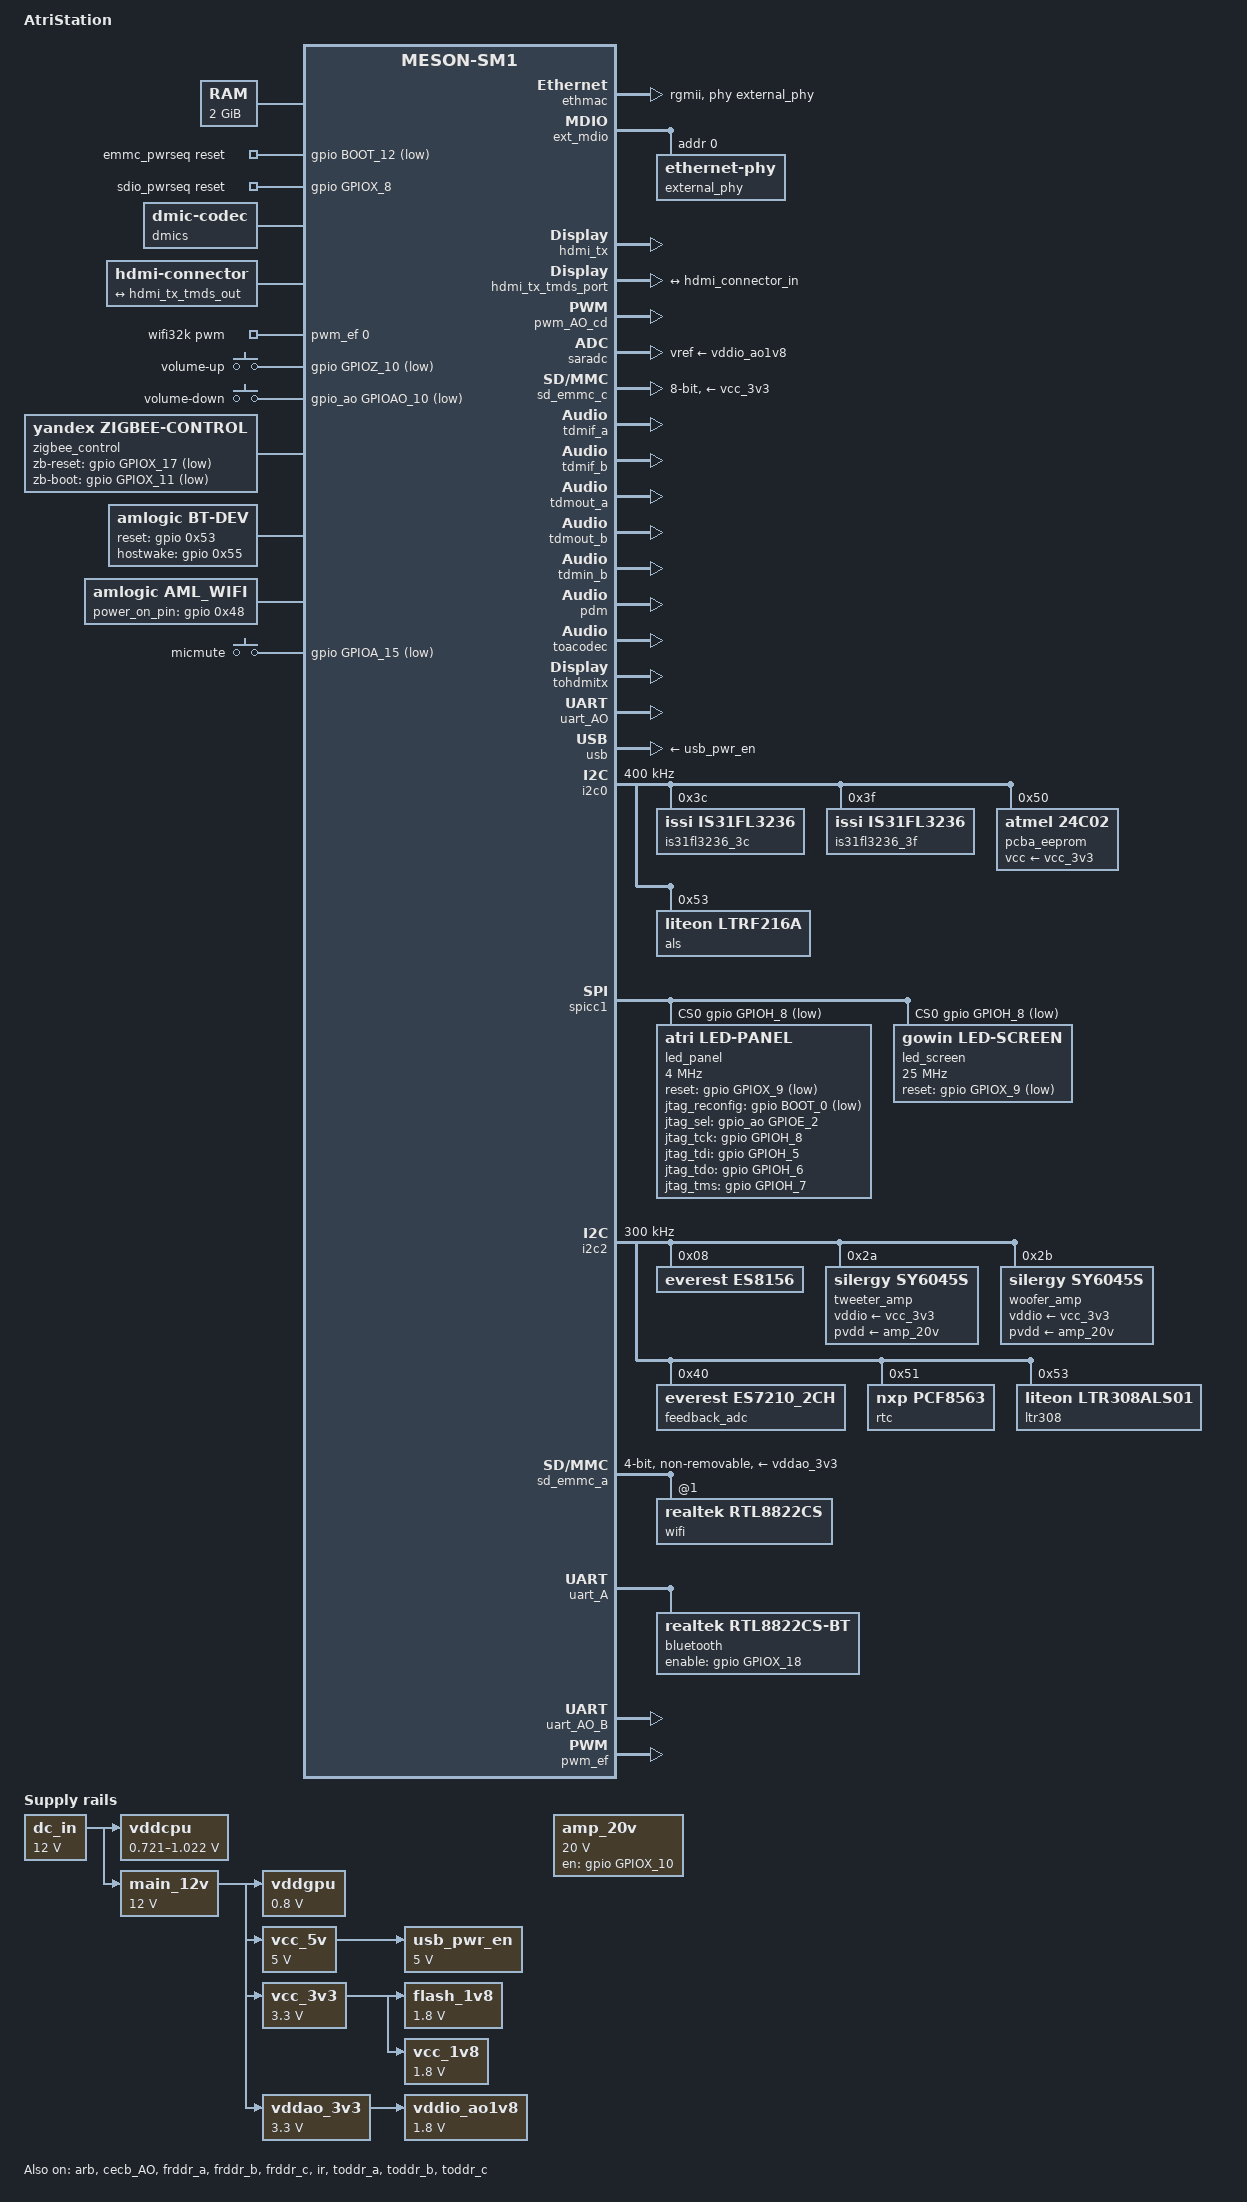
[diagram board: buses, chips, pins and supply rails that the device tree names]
// SPDX-License-Identifier: (GPL-2.0+ OR MIT)
/*
 * Copyright (c) 2024 AtriMods
 * Author: Lefty <leftymods@gmail.com>
 *
 * AtriStation - Amlogic S905X3-based smart display board
 * Features: HDMI, LED ring, microphone array, speakers, WiFi/BT
 */

/dts-v1/;

#include "meson-sm1.dtsi"
#include <dt-bindings/gpio/meson-g12a-gpio.h>
#include <dt-bindings/input/linux-event-codes.h>
#include <dt-bindings/leds/common.h>
#include <dt-bindings/clock/axg-audio-clkc.h>
#include <dt-bindings/sound/meson-g12a-toacodec.h>
#include <dt-bindings/sound/meson-g12a-tohdmitx.h>

/ {
	compatible = "atristation,atristation", "amlogic,sm1";
	model = "AtriStation";

	aliases {
		serial0 = &uart_AO;
		serial1 = &uart_A;	/* Bluetooth -> ttyAML1 */
		serial2 = &uart_AO_B;	/* Zigbee    -> ttyAML2 */
		ethernet0 = &ethmac;
		led-controller0 = &is31fl3236_3c;
		led-controller1 = &is31fl3236_3f;
	};

	chosen {
		stdout-path = "serial0:115200n8";
	};

	memory@0 {
		device_type = "memory";
		reg = <0x0 0x0 0x0 0x80000000>;
	};

	vrtc_alarm: rtc {
		compatible = "amlogic,aml_vrtc";
		alarm_reg_addr = <0xff8000a8>;
		timer_e_addr = <0xffd0f188>;
		init_date = "2015/01/01";
		status = "okay";
	};

	pcba_ids: pcba-ids {
		compatible = "atri,pcba-ids";
		eeproms = <&pcba_eeprom>;
		eeprom-names = "mainboard";
		status = "okay";
	};

	emmc_pwrseq: emmc-pwrseq {
		compatible = "mmc-pwrseq-emmc";
		reset-gpios = <&gpio BOOT_12 GPIO_ACTIVE_LOW>;
	};

	sdio_pwrseq: sdio-pwrseq {
		compatible = "mmc-pwrseq-simple";
		/* Android DTB: wifi.power_on_pin = GPIOX_8 (0x48), asserted high */
		reset-gpios = <&gpio GPIOX_8 GPIO_ACTIVE_HIGH>;
		clocks = <&wifi32k>;
		clock-names = "ext_clock";
		post-power-on-delay-ms = <200>;
	};

	vddcpu: regulator-vddcpu {
		compatible = "pwm-regulator";
		pwms = <&pwm_AO_cd 1 1500 0>;
		pwm-dutycycle-range = <100 0>;
		regulator-name = "VDDCPU";
		regulator-min-microvolt = <721000>;
		regulator-max-microvolt = <1022000>;
		regulator-boot-on;
		regulator-always-on;
		vin-supply = <&dc_in>;
	};

	/* GPU rail: all SM1 GPU OPPs run at 0.8V; board feeds MALI from an
	 * always-on buck, so declare a fixed 0.8V supply for panfrost devfreq */
	vddgpu: regulator-vddgpu {
		compatible = "regulator-fixed";
		regulator-name = "VDDGPU";
		regulator-min-microvolt = <800000>;
		regulator-max-microvolt = <800000>;
		vin-supply = <&main_12v>;
		regulator-always-on;
	};

	/* Station 2 has no microSD slot; GPIOAO_3 is the Zigbee UART RX
	 * (stock DTB: uart_ao_b rx_b_3). Node kept disabled for reference. */
	tflash_vdd: regulator-tflash_vdd {
		compatible = "regulator-fixed";
		regulator-name = "TFLASH_VDD";
		regulator-min-microvolt = <3300000>;
		regulator-max-microvolt = <3300000>;
		vin-supply = <&vcc_5v>;
		gpio = <&gpio_ao GPIOAO_3 GPIO_ACTIVE_HIGH>;
		enable-active-high;
		regulator-boot-on;
		status = "disabled";	};

	flash_1v8: regulator-flash_1v8 {
		compatible = "regulator-fixed";
		regulator-name = "FLASH_1V8";
		regulator-min-microvolt = <1800000>;
		regulator-max-microvolt = <1800000>;
		vin-supply = <&vcc_3v3>;
		regulator-boot-on;
	};

	main_12v: regulator-main_12v {
		compatible = "regulator-fixed";
		regulator-name = "MAIN_12V";
		regulator-min-microvolt = <12000000>;
		regulator-max-microvolt = <12000000>;
		vin-supply = <&dc_in>;
		regulator-boot-on;
	};

	vcc_5v: regulator-vcc_5v {
		compatible = "regulator-fixed";
		regulator-name = "VCC_5V";
		regulator-min-microvolt = <5000000>;
		regulator-max-microvolt = <5000000>;
		vin-supply = <&main_12v>;
		regulator-boot-on;
	};

	vcc_1v8: regulator-vcc_1v8 {
		compatible = "regulator-fixed";
		regulator-name = "VCC_1V8";
		regulator-min-microvolt = <1800000>;
		regulator-max-microvolt = <1800000>;
		vin-supply = <&vcc_3v3>;
		regulator-always-on;
	};

	vcc_3v3: regulator-vcc_3v3 {
		compatible = "regulator-fixed";
		regulator-name = "VCC_3V3";
		regulator-min-microvolt = <3300000>;
		regulator-max-microvolt = <3300000>;
		vin-supply = <&main_12v>;
		regulator-boot-on;
	};

	vddao_3v3: regulator-vddao_3v3 {
		compatible = "regulator-fixed";
		regulator-name = "VDDAO_3V3";
		regulator-min-microvolt = <3300000>;
		regulator-max-microvolt = <3300000>;
		vin-supply = <&main_12v>;
		regulator-boot-on;
	};

	dc_in: regulator-dc_in {
		compatible = "regulator-fixed";
		regulator-name = "DC_IN";
		regulator-min-microvolt = <12000000>;
		regulator-max-microvolt = <12000000>;
		regulator-boot-on;
	};

	sound {
		compatible = "amlogic,axg-sound-card";
		model = "ATRISTATION";
		audio-aux-devs = <&tdmout_b>;
		audio-widgets = "Headphone", "Headphones";
		audio-routing =
			"Headphones", "LOUT",
			"Headphones", "ROUT",
			"TDMOUT_B IN 0", "FRDDR_A OUT 0";

		clocks = <&clkc CLKID_MPLL2>,
			 <&clkc CLKID_MPLL0>;
		assigned-clocks = <&clkc CLKID_MPLL2>,
				  <&clkc CLKID_MPLL0>;
		assigned-clock-rates = <294912000>,
				       <270950400>;

		dai-link-0 {
			sound-dai = <&frddr_a>;
		};

		dai-link-3 {
			sound-dai = <&tdmif_b>;
			dai-format = "i2s";
			bitclock-master = <&tdmif_b>;
			frame-master = <&tdmif_b>;
			dai-tdm-slot-tx-mask-0 = <1 1>;
			mclk-fs = <256>;

			codec-0 { sound-dai = <&tweeter_amp>; };
			codec-1 { sound-dai = <&woofer_amp>; };
			codec-2 { sound-dai = <&es8156>; };
		};
	};

	/* PDM microphone array (4 channels) */
	dmics: dmics {
		compatible = "dmic-codec";
		#sound-dai-cells = <0>;
		num-channels = <4>;
		wakeup-delay-ms = <50>;
		sound-name-prefix = "DMIC";
	};

	/* HDMI connector */
	hdmi-connector {
		compatible = "hdmi-connector";
		type = "a";

		port {
			hdmi_connector_in: endpoint {
				remote-endpoint = <&hdmi_tx_tmds_out>;
			};
		};
	};

	/* USB power enable
	 * No VBUS GPIO on this board (stock Yandex DTB wires none);
	 * GPIOH_6 is the FPGA JTAG TDO line, do not claim it here. */
	usb_pwr_en: regulator-usb-pwr-en {
		compatible = "regulator-fixed";
		regulator-name = "USB_PWR_EN";
		regulator-min-microvolt = <5000000>;
		regulator-max-microvolt = <5000000>;
		vin-supply = <&vcc_5v>;
		regulator-boot-on;
		regulator-always-on;
	};

	/* 32.768kHz clock for WiFi */
	wifi32k: wifi32k {
		compatible = "pwm-clock";
		#clock-cells = <0>;
		clock-frequency = <32768>;
		/* Android DTB: pwm@19000 ch0, period 30541 (~32.756 kHz), duty ~48% */
		pwms = <&pwm_ef 0 30541 0>;
	};

	/* VDDAO 1.8V for SDIO/BT I/O */
	vddio_ao1v8: regulator-vddio-ao1v8 {
		compatible = "regulator-fixed";
		regulator-name = "VDDIO_AO1V8";
		regulator-min-microvolt = <1800000>;
		regulator-max-microvolt = <1800000>;
		vin-supply = <&vddao_3v3>;
		regulator-always-on;
	};

	/* SY6045S amplifier 20V supply enable.
	 * Board owner confirmed: ampl_pwr = GPIOX_10 (the old AO_10 was
	 * a misparse of the vendor dump). This frees GPIOAO_10 for the
	 * volume knob phase B. sy6045s driver sequences it at step 4. */
	amp_20v: regulator-20v-amp {
		compatible = "regulator-fixed";
		regulator-name = "20V_AMPL";
		regulator-min-microvolt = <20000000>;
		regulator-max-microvolt = <20000000>;
		gpio = <&gpio GPIOX_10 GPIO_ACTIVE_HIGH>;
		enable-active-high;
	};

	/* Volume knob per vendor: push A/B emitting KEY_VOLUMEUP/DOWN */
	rotary-volume {
		compatible = "gpio-keys-polled";
		poll-interval = <20>;

		vol-up {
			label = "volume-up";
			linux,code = <KEY_VOLUMEUP>;
			gpios = <&gpio GPIOZ_10 GPIO_ACTIVE_LOW>;
		};

		vol-down {
			label = "volume-down";
			linux,code = <KEY_VOLUMEDOWN>;
			gpios = <&gpio_ao GPIOAO_10 GPIO_ACTIVE_LOW>;
		};
	};

	zigbee_control: zigbee-control {
		compatible = "yandex,zigbee-control";
		zb-reset-gpios = <&gpio GPIOX_17 GPIO_ACTIVE_LOW>;
		zb-boot-gpios = <&gpio GPIOX_11 GPIO_ACTIVE_LOW>;
		status = "okay";
	};

	/* Bluetooth: matches vendor DTB gpio_reset=0x16 0x53,
	 * gpio_hostwake=0x16 0x55 */
	bt-dev {
		compatible = "amlogic,bt-dev";
		dev_name = "bt-dev";
		status = "okay";
		gpio_reset = <&gpio 0x53 GPIO_ACTIVE_HIGH>;
		gpio_hostwake = <&gpio 0x55 GPIO_ACTIVE_HIGH>;
	};

	/* WiFi: matches vendor DTB aml_wifi:
	 * interrupt_pin=0x16 0x49, power_on_pin=0x16 0x48 */
	wifi {
		compatible = "amlogic,aml_wifi";
		dev_name = "aml_wifi";
		status = "okay";
		interrupt_pin = <&gpio 0x49 GPIO_ACTIVE_LOW>;
		irq_trigger_type = "GPIO_IRQ_LOW";
		power_on_pin = <&gpio 0x48 GPIO_ACTIVE_HIGH>;
		pwm_config = <&wifi_pwm_conf>;
	};

	/* WiFi/BT 32.768kHz PWM config as in vendor DTB */
	wifi_pwm_conf: wifi-pwm-conf {
		pwm_channel1_conf {
			pwms = <&pwm_ef 0 0x774d 0x00>;
			duty-cycle = <0x3ba6>;
			times = <0x0a>;
		};
		pwm_channel2_conf {
			pwms = <&pwm_ef 2 0x7724 0x00>;
			duty-cycle = <0x3b92>;
			times = <0x0c>;
		};
	};

	gpio-keys-polled {
		compatible = "gpio-keys-polled";
		poll-interval = <50>;
		pinctrl-names = "default";
		pinctrl-0 = <&button_pullup_pins>;
		status = "okay";

		button-micmute {
			label = "micmute";
			gpios = <&gpio GPIOA_15 GPIO_ACTIVE_LOW>;
			/* Key 248: KEY_MICMUTE / Yandex vendor MUTE */
			linux,code = <KEY_MICMUTE>;
		};
	};

	/* RGB LED ring - 24 multicolor groups */
	ring0: rgb0 {
		compatible = "leds-group-multicolor";
		color = <LED_COLOR_ID_RGB>;
		label = "ring0";
		leds = <&led_3c_blue0>, <&led_3c_green0>, <&led_3c_red0>;
	};
	ring1: rgb1 {
		compatible = "leds-group-multicolor";
		color = <LED_COLOR_ID_RGB>;
		label = "ring1";
		leds = <&led_3c_blue1>, <&led_3c_green1>, <&led_3c_red1>;
	};
	ring2: rgb2 {
		compatible = "leds-group-multicolor";
		color = <LED_COLOR_ID_RGB>;
		label = "ring2";
		leds = <&led_3c_blue2>, <&led_3c_green2>, <&led_3c_red2>;
	};
	ring3: rgb3 {
		compatible = "leds-group-multicolor";
		color = <LED_COLOR_ID_RGB>;
		label = "ring3";
		leds = <&led_3c_blue3>, <&led_3c_green3>, <&led_3c_red3>;
	};
	ring4: rgb4 {
		compatible = "leds-group-multicolor";
		color = <LED_COLOR_ID_RGB>;
		label = "ring4";
		leds = <&led_3c_blue4>, <&led_3c_green4>, <&led_3c_red4>;
	};
	ring5: rgb5 {
		compatible = "leds-group-multicolor";
		color = <LED_COLOR_ID_RGB>;
		label = "ring5";
		leds = <&led_3c_blue5>, <&led_3c_green5>, <&led_3c_red5>;
	};
	ring6: rgb6 {
		compatible = "leds-group-multicolor";
		color = <LED_COLOR_ID_RGB>;
		label = "ring6";
		leds = <&led_3c_blue6>, <&led_3c_green6>, <&led_3c_red6>;
	};
	ring7: rgb7 {
		compatible = "leds-group-multicolor";
		color = <LED_COLOR_ID_RGB>;
		label = "ring7";
		leds = <&led_3c_blue7>, <&led_3c_green7>, <&led_3c_red7>;
	};
	ring8: rgb8 {
		compatible = "leds-group-multicolor";
		color = <LED_COLOR_ID_RGB>;
		label = "ring8";
		leds = <&led_3c_blue8>, <&led_3c_green8>, <&led_3c_red8>;
	};
	ring9: rgb9 {
		compatible = "leds-group-multicolor";
		color = <LED_COLOR_ID_RGB>;
		label = "ring9";
		leds = <&led_3c_blue9>, <&led_3c_green9>, <&led_3c_red9>;
	};
	ring10: rgb10 {
		compatible = "leds-group-multicolor";
		color = <LED_COLOR_ID_RGB>;
		label = "ring10";
		leds = <&led_3c_blue10>, <&led_3c_green10>, <&led_3c_red10>;
	};
	ring11: rgb11 {
		compatible = "leds-group-multicolor";
		color = <LED_COLOR_ID_RGB>;
		label = "ring11";
		leds = <&led_3c_blue11>, <&led_3c_green11>, <&led_3c_red11>;
	};
	ring12: rgb12 {
		compatible = "leds-group-multicolor";
		color = <LED_COLOR_ID_RGB>;
		label = "ring12";
		leds = <&led_3f_blue12>, <&led_3f_green12>, <&led_3f_red12>;
	};
	ring13: rgb13 {
		compatible = "leds-group-multicolor";
		color = <LED_COLOR_ID_RGB>;
		label = "ring13";
		leds = <&led_3f_blue13>, <&led_3f_green13>, <&led_3f_red13>;
	};
	ring14: rgb14 {
		compatible = "leds-group-multicolor";
		color = <LED_COLOR_ID_RGB>;
		label = "ring14";
		leds = <&led_3f_blue14>, <&led_3f_green14>, <&led_3f_red14>;
	};
	ring15: rgb15 {
		compatible = "leds-group-multicolor";
		color = <LED_COLOR_ID_RGB>;
		label = "ring15";
		leds = <&led_3f_blue15>, <&led_3f_green15>, <&led_3f_red15>;
	};
	ring16: rgb16 {
		compatible = "leds-group-multicolor";
		color = <LED_COLOR_ID_RGB>;
		label = "ring16";
		leds = <&led_3f_blue16>, <&led_3f_green16>, <&led_3f_red16>;
	};
	ring17: rgb17 {
		compatible = "leds-group-multicolor";
		color = <LED_COLOR_ID_RGB>;
		label = "ring17";
		leds = <&led_3f_blue17>, <&led_3f_green17>, <&led_3f_red17>;
	};
	ring18: rgb18 {
		compatible = "leds-group-multicolor";
		color = <LED_COLOR_ID_RGB>;
		label = "ring18";
		leds = <&led_3f_blue18>, <&led_3f_green18>, <&led_3f_red18>;
	};
	ring19: rgb19 {
		compatible = "leds-group-multicolor";
		color = <LED_COLOR_ID_RGB>;
		label = "ring19";
		leds = <&led_3f_blue19>, <&led_3f_green19>, <&led_3f_red19>;
	};
	ring20: rgb20 {
		compatible = "leds-group-multicolor";
		color = <LED_COLOR_ID_RGB>;
		label = "ring20";
		leds = <&led_3f_blue20>, <&led_3f_green20>, <&led_3f_red20>;
	};
	ring21: rgb21 {
		compatible = "leds-group-multicolor";
		color = <LED_COLOR_ID_RGB>;
		label = "ring21";
		leds = <&led_3f_blue21>, <&led_3f_green21>, <&led_3f_red21>;
	};
	ring22: rgb22 {
		compatible = "leds-group-multicolor";
		color = <LED_COLOR_ID_RGB>;
		label = "ring22";
		leds = <&led_3f_blue22>, <&led_3f_green22>, <&led_3f_red22>;
	};
	ring23: rgb23 {
		compatible = "leds-group-multicolor";
		color = <LED_COLOR_ID_RGB>;
		label = "ring23";
		leds = <&led_3f_blue23>, <&led_3f_green23>, <&led_3f_red23>;
	};
};

&arb {
	status = "okay";
};

&cec_AO {
	pinctrl-0 = <&cec_ao_a_h_pins>;
	pinctrl-names = "default";
	status = "disabled";
	hdmi-phandle = <&hdmi_tx>;
};

&cecb_AO {
	pinctrl-0 = <&cec_ao_b_h_pins>;
	pinctrl-names = "default";
	status = "okay";
	hdmi-phandle = <&hdmi_tx>;
};

&clk_msr {
	status = "okay";
};

&clkc_audio {
	status = "okay";
};

&cpu0 {
	cpu-supply = <&vddcpu>;
};

&cpu1 {
	cpu-supply = <&vddcpu>;
};

&cpu2 {
	cpu-supply = <&vddcpu>;
};

&cpu3 {
	cpu-supply = <&vddcpu>;
};

&ethmac {
	status = "okay";
	pinctrl-0 = <&eth_pins>, <&eth_rgmii_pins>;
	pinctrl-names = "default";
	phy-mode = "rgmii";
	phy-handle = <&external_phy>;
	amlogic,tx-delay-ns = <2>;
};

&ext_mdio {
	external_phy: ethernet-phy@0 {
		reg = <0>;
		max-speed = <1000>;
	};
};

&frddr_a {
	status = "okay";
};

&frddr_b {
	status = "okay";
};

&frddr_c {
	status = "okay";
};

&hdmi_tx {
	status = "okay";
	pinctrl-0 = <&hdmitx_hpd_pins>, <&hdmitx_ddc_pins>;
	pinctrl-names = "default";
	hdmi-supply = <&vcc_5v>;
};

&hdmi_tx_tmds_port {
	hdmi_tx_tmds_out: endpoint {
		remote-endpoint = <&hdmi_connector_in>;
	};
};

&ir {
	status = "okay";
	pinctrl-0 = <&remote_input_ao_pins>;
	pinctrl-names = "default";
};

&mali {
	mali-supply = <&vddgpu>;
};

&pwm_AO_ab {
	pinctrl-0 = <&pwm_ao_a_pins>;
	pinctrl-names = "default";
};

&pwm_AO_cd {
	pinctrl-0 = <&pwm_ao_d_e_pins>;
	pinctrl-names = "default";
	status = "okay";
};

&saradc {
	status = "okay";
	vref-supply = <&vddio_ao1v8>;
};

/* SD card - disabled, no SD slot on AtriStation */
&sd_emmc_b {
	status = "disabled";
};

/* eMMC */
&sd_emmc_c {
	status = "okay";
	pinctrl-0 = <&emmc_ctrl_pins>, <&emmc_data_8b_pins>, <&emmc_ds_pins>;
	pinctrl-1 = <&emmc_clk_gate_pins>;
	pinctrl-names = "default", "clk-gate";
	bus-width = <8>;
	cap-mmc-highspeed;
	mmc-ddr-1_8v;
	mmc-hs200-1_8v;
	max-frequency = <200000000>;
	disable-wp;
	mmc-pwrseq = <&emmc_pwrseq>;
	vmmc-supply = <&vcc_3v3>;
	vqmmc-supply = <&flash_1v8>;
};

&tdmif_a {
	status = "okay";
	pinctrl-0 = <&tdm_a_dout0_pins>, <&tdm_a_din0_pins>,
		    <&tdm_a_fs_pins>, <&tdm_a_sclk_pins>;
	pinctrl-names = "default";
};

&tdmif_b {
	status = "okay";
	pinctrl-0 = <&tdm_ao_b_dout2_pins>, <&tdm_ao_b_din0_pins>,
		    <&tdm_ao_b_fs_pins>, <&tdm_ao_b_sclk_pins>,
		    <&mclk0_ao_pins>;
	pinctrl-names = "default";
};

&tdmout_a {
	status = "okay";
};

&tdmout_b {
	status = "okay";
};

&tdmin_b {
	status = "okay";
};

&toddr_a {
	status = "okay";
};

&toddr_b {
	status = "okay";
};

&toddr_c {
	status = "okay";
};

&pdm {
	status = "okay";
	pinctrl-0 = <&pdm_dclk_c_pins>, <&pdm_din0_c_pins>,
		    <&pdm_din1_c_pins>, <&pdm_din2_c_pins>,
		    <&pdm_din3_c_pins>;
	pinctrl-names = "default";
};

&toacodec {
	status = "okay";
};

&tohdmitx {
	status = "okay";
};

&uart_AO {
	status = "okay";
	pinctrl-0 = <&uart_ao_a_pins>;
	pinctrl-names = "default";
};

&usb {
	status = "okay";
	vbus-supply = <&usb_pwr_en>;
};

&usb2_phy0 {
	phy-supply = <&vcc_5v>;
};

/* I2C0 - LED ring, light sensor, EEPROM (GPIOZ pins to avoid SD card conflict) */
&i2c0 {
	status = "okay";
	pinctrl-0 = <&i2c0_sda_c_pins>, <&i2c0_sck_c_pins>;
	pinctrl-names = "default";
	clock-frequency = <400000>;

	is31fl3236_3c: led-controller@3c {
		compatible = "issi,is31fl3236";
		reg = <0x3c>;
		#address-cells = <1>;
		#size-cells = <0>;
		status = "okay";
		led_3c_red0: led@1 {
			reg = <1>;
			color = <LED_COLOR_ID_BLUE>;
			label = "rgb0-blue";
		};
		led_3c_green0: led@2 {
			reg = <2>;
			color = <LED_COLOR_ID_GREEN>;
			label = "rgb0-green";
		};
		led_3c_blue0: led@3 {
			reg = <3>;
			color = <LED_COLOR_ID_RED>;
			label = "rgb0-red";
		};
		led_3c_red1: led@4 {
			reg = <4>;
			color = <LED_COLOR_ID_BLUE>;
			label = "rgb1-blue";
		};
		led_3c_green1: led@5 {
			reg = <5>;
			color = <LED_COLOR_ID_GREEN>;
			label = "rgb1-green";
		};
		led_3c_blue1: led@6 {
			reg = <6>;
			color = <LED_COLOR_ID_RED>;
			label = "rgb1-red";
		};
		led_3c_red2: led@7 {
			reg = <7>;
			color = <LED_COLOR_ID_BLUE>;
			label = "rgb2-blue";
		};
		led_3c_green2: led@8 {
			reg = <8>;
			color = <LED_COLOR_ID_GREEN>;
			label = "rgb2-green";
		};
		led_3c_blue2: led@9 {
			reg = <9>;
			color = <LED_COLOR_ID_RED>;
			label = "rgb2-red";
		};
		led_3c_red3: led@10 {
			reg = <10>;
			color = <LED_COLOR_ID_BLUE>;
			label = "rgb3-blue";
		};
		led_3c_green3: led@11 {
			reg = <11>;
			color = <LED_COLOR_ID_GREEN>;
			label = "rgb3-green";
		};
		led_3c_blue3: led@12 {
			reg = <12>;
			color = <LED_COLOR_ID_RED>;
			label = "rgb3-red";
		};
		led_3c_red4: led@13 {
			reg = <13>;
			color = <LED_COLOR_ID_BLUE>;
			label = "rgb4-blue";
		};
		led_3c_green4: led@14 {
			reg = <14>;
			color = <LED_COLOR_ID_GREEN>;
			label = "rgb4-green";
		};
		led_3c_blue4: led@15 {
			reg = <15>;
			color = <LED_COLOR_ID_RED>;
			label = "rgb4-red";
		};
		led_3c_red5: led@16 {
			reg = <16>;
			color = <LED_COLOR_ID_BLUE>;
			label = "rgb5-blue";
		};
		led_3c_green5: led@17 {
			reg = <17>;
			color = <LED_COLOR_ID_GREEN>;
			label = "rgb5-green";
		};
		led_3c_blue5: led@18 {
			reg = <18>;
			color = <LED_COLOR_ID_RED>;
			label = "rgb5-red";
		};
		led_3c_red6: led@19 {
			reg = <19>;
			color = <LED_COLOR_ID_BLUE>;
			label = "rgb6-blue";
		};
		led_3c_green6: led@20 {
			reg = <20>;
			color = <LED_COLOR_ID_GREEN>;
			label = "rgb6-green";
		};
		led_3c_blue6: led@21 {
			reg = <21>;
			color = <LED_COLOR_ID_RED>;
			label = "rgb6-red";
		};
		led_3c_red7: led@22 {
			reg = <22>;
			color = <LED_COLOR_ID_BLUE>;
			label = "rgb7-blue";
		};
		led_3c_green7: led@23 {
			reg = <23>;
			color = <LED_COLOR_ID_GREEN>;
			label = "rgb7-green";
		};
		led_3c_blue7: led@24 {
			reg = <24>;
			color = <LED_COLOR_ID_RED>;
			label = "rgb7-red";
		};
		led_3c_red8: led@25 {
			reg = <25>;
			color = <LED_COLOR_ID_BLUE>;
			label = "rgb8-blue";
		};
		led_3c_green8: led@26 {
			reg = <26>;
			color = <LED_COLOR_ID_GREEN>;
			label = "rgb8-green";
		};
		led_3c_blue8: led@27 {
			reg = <27>;
			color = <LED_COLOR_ID_RED>;
			label = "rgb8-red";
		};
		led_3c_red9: led@28 {
			reg = <28>;
			color = <LED_COLOR_ID_BLUE>;
			label = "rgb9-blue";
		};
		led_3c_green9: led@29 {
			reg = <29>;
			color = <LED_COLOR_ID_GREEN>;
			label = "rgb9-green";
		};
		led_3c_blue9: led@30 {
			reg = <30>;
			color = <LED_COLOR_ID_RED>;
			label = "rgb9-red";
		};
		led_3c_red10: led@31 {
			reg = <31>;
			color = <LED_COLOR_ID_BLUE>;
			label = "rgb10-blue";
		};
		led_3c_green10: led@32 {
			reg = <32>;
			color = <LED_COLOR_ID_GREEN>;
			label = "rgb10-green";
		};
		led_3c_blue10: led@33 {
			reg = <33>;
			color = <LED_COLOR_ID_RED>;
			label = "rgb10-red";
		};
		led_3c_red11: led@34 {
			reg = <34>;
			color = <LED_COLOR_ID_BLUE>;
			label = "rgb11-blue";
		};
		led_3c_green11: led@35 {
			reg = <35>;
			color = <LED_COLOR_ID_GREEN>;
			label = "rgb11-green";
		};
		led_3c_blue11: led@36 {
			reg = <36>;
			color = <LED_COLOR_ID_RED>;
			label = "rgb11-red";
		};
	};

	is31fl3236_3f: led-controller@3f {
		compatible = "issi,is31fl3236";
		reg = <0x3f>;
		#address-cells = <1>;
		#size-cells = <0>;
		status = "okay";
		led_3f_red12: led@1 {
			reg = <1>;
			color = <LED_COLOR_ID_BLUE>;
			label = "rgb12-blue";
		};
		led_3f_green12: led@2 {
			reg = <2>;
			color = <LED_COLOR_ID_GREEN>;
			label = "rgb12-green";
		};
		led_3f_blue12: led@3 {
			reg = <3>;
			color = <LED_COLOR_ID_RED>;
			label = "rgb12-red";
		};
		led_3f_red13: led@4 {
			reg = <4>;
			color = <LED_COLOR_ID_BLUE>;
			label = "rgb13-blue";
		};
		led_3f_green13: led@5 {
			reg = <5>;
			color = <LED_COLOR_ID_GREEN>;
			label = "rgb13-green";
		};
		led_3f_blue13: led@6 {
			reg = <6>;
			color = <LED_COLOR_ID_RED>;
			label = "rgb13-red";
		};
		led_3f_red14: led@7 {
			reg = <7>;
			color = <LED_COLOR_ID_BLUE>;
			label = "rgb14-blue";
		};
		led_3f_green14: led@8 {
			reg = <8>;
			color = <LED_COLOR_ID_GREEN>;
			label = "rgb14-green";
		};
		led_3f_blue14: led@9 {
			reg = <9>;
			color = <LED_COLOR_ID_RED>;
			label = "rgb14-red";
		};
		led_3f_red15: led@10 {
			reg = <10>;
			color = <LED_COLOR_ID_BLUE>;
			label = "rgb15-blue";
		};
		led_3f_green15: led@11 {
			reg = <11>;
			color = <LED_COLOR_ID_GREEN>;
			label = "rgb15-green";
		};
		led_3f_blue15: led@12 {
			reg = <12>;
			color = <LED_COLOR_ID_RED>;
			label = "rgb15-red";
		};
		led_3f_red16: led@13 {
			reg = <13>;
			color = <LED_COLOR_ID_BLUE>;
			label = "rgb16-blue";
		};
		led_3f_green16: led@14 {
			reg = <14>;
			color = <LED_COLOR_ID_GREEN>;
			label = "rgb16-green";
		};
		led_3f_blue16: led@15 {
			reg = <15>;
			color = <LED_COLOR_ID_RED>;
			label = "rgb16-red";
		};
		led_3f_red17: led@16 {
			reg = <16>;
			color = <LED_COLOR_ID_BLUE>;
			label = "rgb17-blue";
		};
		led_3f_green17: led@17 {
			reg = <17>;
			color = <LED_COLOR_ID_GREEN>;
			label = "rgb17-green";
		};
		led_3f_blue17: led@18 {
			reg = <18>;
			color = <LED_COLOR_ID_RED>;
			label = "rgb17-red";
		};
		led_3f_red18: led@19 {
			reg = <19>;
			color = <LED_COLOR_ID_BLUE>;
			label = "rgb18-blue";
		};
		led_3f_green18: led@20 {
			reg = <20>;
			color = <LED_COLOR_ID_GREEN>;
			label = "rgb18-green";
		};
		led_3f_blue18: led@21 {
			reg = <21>;
			color = <LED_COLOR_ID_RED>;
			label = "rgb18-red";
		};
		led_3f_red19: led@22 {
			reg = <22>;
			color = <LED_COLOR_ID_BLUE>;
			label = "rgb19-blue";
		};
		led_3f_green19: led@23 {
			reg = <23>;
			color = <LED_COLOR_ID_GREEN>;
			label = "rgb19-green";
		};
		led_3f_blue19: led@24 {
			reg = <24>;
			color = <LED_COLOR_ID_RED>;
			label = "rgb19-red";
		};
		led_3f_red20: led@25 {
			reg = <25>;
			color = <LED_COLOR_ID_BLUE>;
			label = "rgb20-blue";
		};
		led_3f_green20: led@26 {
			reg = <26>;
			color = <LED_COLOR_ID_GREEN>;
			label = "rgb20-green";
		};
		led_3f_blue20: led@27 {
			reg = <27>;
			color = <LED_COLOR_ID_RED>;
			label = "rgb20-red";
		};
		led_3f_red21: led@28 {
			reg = <28>;
			color = <LED_COLOR_ID_BLUE>;
			label = "rgb21-blue";
		};
		led_3f_green21: led@29 {
			reg = <29>;
			color = <LED_COLOR_ID_GREEN>;
			label = "rgb21-green";
		};
		led_3f_blue21: led@30 {
			reg = <30>;
			color = <LED_COLOR_ID_RED>;
			label = "rgb21-red";
		};
		led_3f_red22: led@31 {
			reg = <31>;
			color = <LED_COLOR_ID_BLUE>;
			label = "rgb22-blue";
		};
		led_3f_green22: led@32 {
			reg = <32>;
			color = <LED_COLOR_ID_GREEN>;
			label = "rgb22-green";
		};
		led_3f_blue22: led@33 {
			reg = <33>;
			color = <LED_COLOR_ID_RED>;
			label = "rgb22-red";
		};
		led_3f_red23: led@34 {
			reg = <34>;
			color = <LED_COLOR_ID_BLUE>;
			label = "rgb23-blue";
		};
		led_3f_green23: led@35 {
			reg = <35>;
			color = <LED_COLOR_ID_GREEN>;
			label = "rgb23-green";
		};
		led_3f_blue23: led@36 {
			reg = <36>;
			color = <LED_COLOR_ID_RED>;
			label = "rgb23-red";
		};
	};

	pcba_eeprom: eeprom@50 {
		compatible = "atmel,24c02";
		reg = <0x50>;
		vcc-supply = <&vcc_3v3>;
		status = "okay";
	};

	als@53 {
		compatible = "liteon,ltrf216a";
		reg = <0x53>;
		status = "okay";
	};
};

/* SPI1 - Quasar LED screen.
 * Bus pins (spicc1_pins -> GPIOH_4/5/6) are muxed by the led_panel child:
 * it owns the default/jtag pinctrl states for FPGA JTAG bit-banging.
 * Duplicating spicc1_pins on the parent makes pinctrl refuse the child's
 * request ("pin GPIOH_4 already requested by ffd15000.spi") and the panel
 * never binds. */
&spicc1 {
	status = "okay";
	pinctrl-names = "default";
	num-cs = <1>;
	cs-gpios = <&gpio GPIOH_7 GPIO_ACTIVE_LOW>;

	led_panel: led-panel@0 {
		compatible = "atri,led-panel", "ya,led-panel";
		reg = <0>;
		spi-max-frequency = <4000000>;
		max-brightness = <200>;
		pinctrl-names = "default", "jtag";
		pinctrl-0 = <&spicc1_pins>;
		pinctrl-1 = <&led_panel_jtag_pins>;
		reset-gpios = <&gpio GPIOX_9 GPIO_ACTIVE_LOW>;
		/* GPIOH output register, bit 8 = GPIOH_8 (JTAG TCK) */
		jtag_tck_desc = <0xff634468 0x08>;
		jtag_reconfig-gpios = <&gpio BOOT_0 GPIO_ACTIVE_LOW>;
		jtag_sel-gpios = <&gpio_ao GPIOE_2 GPIO_ACTIVE_HIGH>;
		jtag_tck-gpios = <&gpio GPIOH_8 GPIO_ACTIVE_HIGH>;
		jtag_tdi-gpios = <&gpio GPIOH_5 GPIO_ACTIVE_HIGH>;
		jtag_tdo-gpios = <&gpio GPIOH_6 GPIO_ACTIVE_HIGH>;
		jtag_tms-gpios = <&gpio GPIOH_7 GPIO_ACTIVE_HIGH>;
		status = "okay";
	};
};

/*
 * FPGA JTAG bit-bang shares the spicc1 pins. The meson pinctrl driver
 * does not re-mux pins on gpio_request, so switching between SPI and
 * JTAG requires explicit pinctrl states on the led_panel node.
 */
&periphs_pinctrl {
	led_panel_jtag_pins: led-panel-jtag {
		mux {
			groups = "GPIOH_5", "GPIOH_6", "GPIOH_7", "GPIOH_8";
			function = "gpio_periphs";
			bias-disable;
		};
	};

	/* Buttons idle high; without internal pull-up the micmute line
	 * floats and reports a stuck key */
	button_pullup_pins: button-pullup {
		mux {
			groups = "GPIOA_15";
			function = "gpio_periphs";
			bias-pull-up;
		};
	};
};

/* I2C2 on Z-pins (GPIOZ_14/15) - SY6045S amps, ES7210 ADC, IS31FL3733 LED */
&i2c2 {
	status = "okay";
	pinctrl-0 = <&i2c2_sda_z_pins>, <&i2c2_sck_z_pins>;
	pinctrl-names = "default";
	clock-frequency = <300000>;

	es8156: es8156@8 {
		compatible = "everest,es8156";
		#sound-dai-cells = <0>;
		reg = <0x08>;
		clocks = <&clkc_audio AUD_CLKID_MST_B_MCLK>;
		clock-names = "mclk";
		status = "okay";
	};

	tweeter_amp: sy6045s@2a {
		compatible = "silergy,sy6045s";
		reg = <0x2a>;
		#sound-dai-cells = <0>;
		sound-name-prefix = "Tweeters";
		vddio-supply = <&vcc_3v3>;
		pvdd-supply = <&amp_20v>;
		firmware = "sy6045s-tweeters-settings.txt";
		/* reg must be <= SY6045S_MAX_REGISTER (0xb0): the old
		 * <0xff 0x06> pair came from a misread vendor dump (ff was
		 * its EOF marker, not a register) and NAKed the whole probe */
		restore-regs = <0x06 0x08>;
		status = "okay";
	};

	woofer_amp: sy6045s@2b {
		compatible = "silergy,sy6045s";
		reg = <0x2b>;
		#sound-dai-cells = <0>;
		sound-name-prefix = "Woofer";
		pbtl-mode;
		vddio-supply = <&vcc_3v3>;
		pvdd-supply = <&amp_20v>;
		firmware = "sy6045s-woofer-settings.txt";
		/* reg must be <= SY6045S_MAX_REGISTER (0xb0): the old
		 * <0xff 0x06> pair came from a misread vendor dump (ff was
		 * its EOF marker, not a register) and NAKed the whole probe */
		restore-regs = <0x06 0x08>;
		status = "okay";
	};

	feedback_adc: es7210@40 {
		compatible = "everest,es7210_2ch";
		reg = <0x40>;
		#sound-dai-cells = <0>;
		clocks = <&clkc_audio AUD_CLKID_MST_B_MCLK>;
		clock-names = "mclk";
		status = "okay";
	};

	rtc: pcf8563@51 {
		compatible = "nxp,pcf8563";
		reg = <0x51>;
		status = "okay";
	};

	ltr308: light-sensor@53 {
		compatible = "liteon,ltr308als01", "liteon,ltr308";
		reg = <0x53>;
		status = "okay";
	};
};

/* I2C3 - not used on this board (no TAS5707/AD82584F) */
&i2c3 {
	status = "disabled";
};

&gpio_ao {
};

/* WiFi RTL8822CS SDIO (matches vendor caps) */
&sd_emmc_a {
	status = "okay";
	pinctrl-0 = <&sdio_pins>;
	pinctrl-1 = <&sdio_clk_gate_pins>;
	pinctrl-names = "default", "clk-gate";
	#address-cells = <1>;
	#size-cells = <0>;
	bus-width = <4>;
	/* cap-sd-highspeed intentionally omitted: RTL8822CS efuse dump
	 * (long CMD53) corrupted at HS on meson-gx-mmc w/o tuning */
	cap-sdio-irq;
	/* Safe RTL8822CS timing for first bring-up.
	 * Re-enable UHS modes one at a time once rtw88 probing and
	 * throughput are verified on hardware. */
	max-frequency = <25000000>;
	non-removable;
	disable-wp;
	keep-power-in-suspend;
	mmc-pwrseq = <&sdio_pwrseq>;
	vmmc-supply = <&vddao_3v3>;
	vqmmc-supply = <&vddio_ao1v8>;

	wifi@1 {
		reg = <1>;
		compatible = "realtek,rtl8822cs";
	};
};

/* Bluetooth RTL8822CS-BT on UART_A */
&uart_A {
	status = "okay";
	pinctrl-0 = <&uart_a_pins>;

	bluetooth: bluetooth {
		compatible = "realtek,rtl8822cs-bt";
		/* 0x53 == GPIOX_18 (verified against sm1 pin table) */
		enable-gpios = <&gpio GPIOX_18 GPIO_ACTIVE_HIGH>;
		/*
		 * Wake lines intentionally omitted:
		 *  - device-wake was GPIOX_17 which conflicts with the
		 *    zigbee radio reset line;
		 *  - host-wake decoded to GPIOAO_0, unverified trace.
		 * btrtl serdev works without them; add back only after
		 * tracing the board.
		 */
		/* vendor config keeps FW init at 115200; H5 negotiates up */
		max-speed = <115200>;
		status = "okay";
	};
};

/* Zigbee radio on UART_AO_B (GPIOAO_8 TX, GPIOAO_9 RX)
 * Disabled: GPIOAO_8 conflicts with tdm_ao_b_sclk needed for audio TDM B.
 * Enable only if Zigbee module is populated and audio TDM B moved to different pins. */
/* Zigbee radio (Tuya TZ9213-2782 module) on UART_AO_B.
 * Stock DTB routes it to pins 2/3 (uart_ao_b_2_3_pins), which do NOT
 * conflict with audio TDM-B (AO4/6/7/8 + MCLK AO9).
 * No serdev driver: userspace talks to /dev/ttyAML1 directly
 * (coordinator firmware flash + NCP passthrough). */
&uart_AO_B {
	status = "okay";
	pinctrl-0 = <&uart_ao_b_2_3_pins>;
	pinctrl-names = "default";
};

/* PWM_E for 32.768kHz WiFi clock */
&pwm_ef {
	status = "okay";
	pinctrl-0 = <&pwm_e_pins>;
	pinctrl-names = "default";
};

/* Volume potentiometer on SAR ADC channel 0
 * Handled by userspace daemon (atrivolume) via IIO */

/* SPI LED screen (Gowin FPGA / Yandex LED screen) */
&spicc1 {
	status = "okay";
	pinctrl-0 = <&spicc1_pins>, <&spicc1_ss0_pins>;
	pinctrl-names = "default";
	cs-gpios = <&gpio GPIOH_8 GPIO_ACTIVE_LOW>;

	led_screen: led-screen@0 {
		compatible = "gowin,led-screen", "yandex,led-screen", "yandex,station-max-led-screen";
		reg = <0>;
		spi-max-frequency = <25000000>;
		max-brightness = <200>;
		reset-gpios = <&gpio GPIOX_9 GPIO_ACTIVE_LOW>;
		status = "okay";
	};
};

